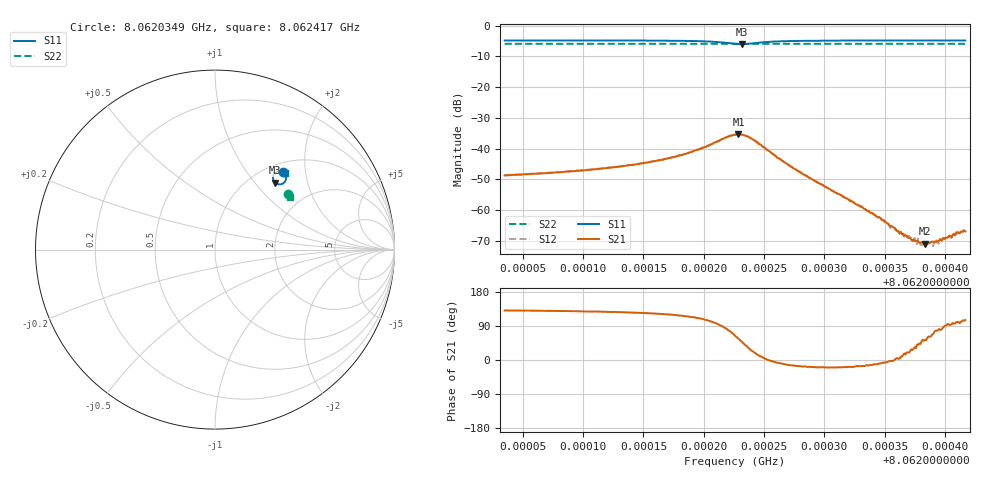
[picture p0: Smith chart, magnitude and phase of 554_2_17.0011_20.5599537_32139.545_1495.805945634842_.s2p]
#  HZ  S  RI  R  50.00
! Rohde & Schwarz Vector Network Analyzer
! Rohde-Schwarz,ZNB20-2Port,1311601062101988,3.16
! Created: UTC 3/20/2024, 11:16:56 PM
! freq[Hz]  re:S11  im:S11  re:S21  im:S21  re:S12  im:S12  re:S22  im:S22
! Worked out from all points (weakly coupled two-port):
!   401 points, 8.0620349 GHz to 8.062417 GHz, reference 50 ohm
!   highest |S21| = -35.35 dB at 8.0622288 GHz (marker M1); lowest = -71.0 dB at 8.0623835 GHz (marker M2)
!   lowest |S11| = -6.0 dB at 8.0622316 GHz (marker M3), VSWR 3.01, Z = 64.2 + j64.1 ohm
!   |S11| at or under -10 dB: nowhere
!   |S22| runs from -5.9 to -5.9 dB; largest |S21 - S12| = 0.0011
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8.06203486e9  0.3792 0.4335  -0.00237 0.00278  -0.00225 0.00295  0.404 0.3094
8.06209886e9  0.3849 0.4278  -0.00272 0.00346  -0.00254 0.00365  0.4064 0.3061
8.06213039e9  0.3885 0.4234  -0.00301 0.0041  -0.00276 0.00433  0.4075 0.3043
8.06216287e9  0.3927 0.4161  -0.0034 0.00545  -0.00311 0.00571  0.4088 0.3023
8.06218961e9  0.396 0.4032  -0.00352 0.00805  -0.00305 0.00834  0.4096 0.3005
8.06221158e9  0.389 0.3782  -0.00118 0.013  -0.00034 0.0132  0.4097 0.2984
8.06222591e9  0.3537 0.3638  0.00727 0.0152  0.00812 0.0147  0.4085 0.2977
8.06222878e9  0.3432 0.367  0.00953 0.0142  0.0104 0.0138  0.4081 0.2979
8.06223164e9  0.3341 0.3735  0.0112 0.0125  0.0121 0.0119  0.4079 0.298
8.0622412e9  0.3234 0.4053  0.0129 0.00512  0.0134 0.00444  0.4081 0.2992
8.06226985e9  0.3556 0.4362  0.00533 -0.00119  0.00532 -0.00153  0.4108 0.2989
8.06228991e9  0.3673 0.4356  0.00298 -0.001  0.00295 -0.00121  0.4121 0.2976
8.06233099e9  0.3785 0.4317  0.00107 -0.000301  0.00108 -0.000422  0.4139 0.2953
8.06235392e9  0.3819 0.4296  0.000563 -2.3e-05  0.000546 -6.93e-05  0.4147 0.294
8.06236442e9  0.3835 0.4288  0.0004 6.36e-05  0.000417 2.14e-05  0.4152 0.2935
8.06237111e9  0.3843 0.4282  0.00032 0.000135  0.000337 0.00012  0.4154 0.2933
8.06237493e9  0.3848 0.4279  0.000262 0.000177  0.000314 0.000156  0.4155 0.2931
8.06238353e9  0.3857 0.4273  0.000168 0.000227  0.000198 0.000205  0.4158 0.2925
8.06239404e9  0.3867 0.4266  6.31e-05 0.000299  9.3e-05 0.000278  0.4164 0.2919
8.06239881e9  0.3871 0.4263  2.02e-05 0.000351  6.63e-05 0.000344  0.4164 0.2917
8.06240359e9  0.3876 0.4258  -1.45e-05 0.000382  4.57e-06 0.000352  0.4165 0.2915
8.06241696e9  0.3889 0.4249  -0.00012 0.000431  -8.86e-05 0.000491  0.417 0.2907
